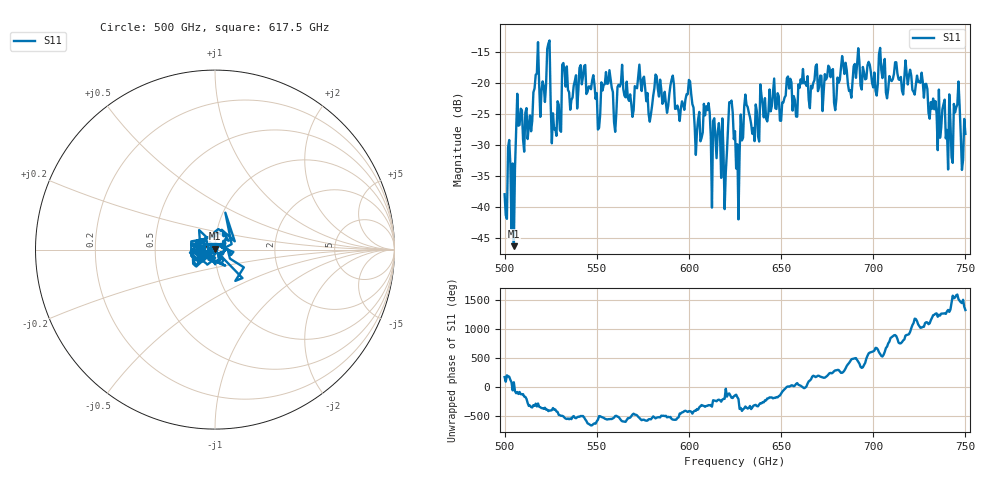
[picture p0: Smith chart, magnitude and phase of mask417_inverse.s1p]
!Created with skrf (http://scikit-rf.org).
# GHz S MA R 50.0
!freq magS11 angS11
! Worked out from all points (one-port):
!   401 points, 500 GHz to 750 GHz, reference 50 ohm
!   lowest |S11| = -46.3 dB at 505 GHz (marker M1), VSWR 1.01, Z = 50.1 + j0.478 ohm
!   |S11| at or under -10 dB: start of sweep to end of sweep
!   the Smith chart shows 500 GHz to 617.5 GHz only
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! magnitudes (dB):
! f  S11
! 500 GHz  -37.9
! 505 GHz  -46.3
! 507.5 GHz  -26.9
! 513.8 GHz  -25.2
! 516.9 GHz  -18.7
! 520.6 GHz  -19.7
! 523.8 GHz  -13.6
! 526.9 GHz  -27.5
! 531.2 GHz  -17.0
! 542.5 GHz  -19.0
! 550.6 GHz  -27.5
! 562.5 GHz  -20.6
! 593.8 GHz  -23.6
! 609.4 GHz  -23.7
! 618.8 GHz  -31.0
! 622.5 GHz  -23.2
! 625 GHz  -27.7
! 626.2 GHz  -29.9
! 631.2 GHz  -23.5
! 634.4 GHz  -28.1
! 656.2 GHz  -24.4
! 680 GHz  -22.6
! 683.8 GHz  -17.0
! 687.5 GHz  -21.2
! 718.8 GHz  -20.2
! 741.9 GHz  -26.2
! 745.6 GHz  -23.5
! 750 GHz  -28.2
